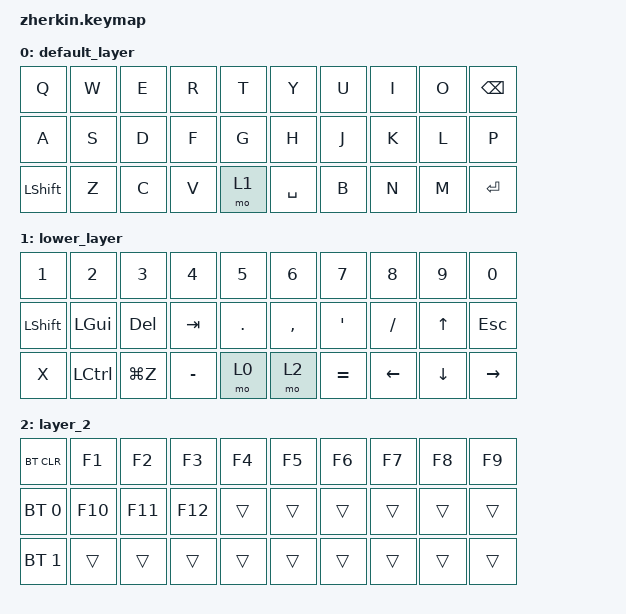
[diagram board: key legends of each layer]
S#include <behaviors.dtsi>
#include <dt-bindings/zmk/bt.h>
#include <dt-bindings/zmk/keys.h>

#define DEFAULT 0
#define LOWER 1

/ {
    keymap {
        compatible = "zmk,keymap";

        default_layer {
            // --------------------------------------------------------------------------------------------------------------------------------------------------------------------
            // |   ESC   |    Q    |    W    |    E    |    R    |    T    |                                          |    Y    |    U    |    I    |    O    |    P    |    \    |
            // |   TAB   |    A    |    S    |    D    |    F    |    G    |                                          |    H    |    J    |    K    |    L    |    ;    |    '    |
            // |  SHIFT  |    Z    |    X    |    C    |    V    |    B    | CTRL+A  | CTRL+C  |  |  CTRL+V |  CTRL+X |    N    |    M    |    ,    |    .    |    /    |  R CTRL |
            //                               |   GUI   |   DEL   | RETURN  |  SPACE  | ESCAPE  |  |  RETURN |  SPACE  |   TAB   |   BSPC  |  R ALT  |

            bindings = <
&kp Q      &kp W  &kp E  &kp R  &kp T  &kp Y      &kp U  &kp I  &kp O  &kp BSPC
&kp A      &kp S  &kp D  &kp F  &kp G  &kp H      &kp J  &kp K  &kp L  &kp P
&kp LSHFT  &kp Z  &kp C  &kp V  &mo 1  &kp SPACE  &kp B  &kp N  &kp M  &kp RET
            >;
        };

        lower_layer {
            // --------------------------------------------------------------------------------------------------------------------------------------------------------------------
            // |   ESC   |    Q    |    W    |    E    |    R    |    T    |                                          |    Y    |    U    |    I    |    O    |    P    |    \    |
            // |   TAB   |    A    |    S    |    D    |    F    |    G    |                                          |    H    |    J    |    K    |    L    |    ;    |    '    |
            // |  SHIFT  |    Z    |    X    |    C    |    V    |    B    | CTRL+A  | CTRL+C  |  |  CTRL+V |  CTRL+X |    N    |    M    |    ,    |    .    |    /    |  R CTRL |
            //                               |   GUI   |   DEL   | RETURN  |  SPACE  | ESCAPE  |  |  RETURN |  SPACE  |   TAB   |   BSPC  |  R ALT  |

            bindings = <
&kp N1        &kp N2        &kp N3        &kp N4        &kp N5     &kp N6     &kp N7    &kp N8     &kp N9   &kp N0
&kp LSHIFT    &kp LGUI      &kp DEL       &kp TAB       &kp DOT    &kp COMMA  &kp APOS  &kp SLASH  &kp UP   &kp ESC
&kp X         &kp LCTRL     &kp LG(Z)     &kp MINUS     &mo 0      &mo 2      &kp EQUAL   &kp LEFT   &kp DOWN &kp RIGHT
            >;
        };

        layer_2 {
            bindings = <
&bt BT_CLR    &kp F1  &kp F2  &kp F3  &kp F4  &kp F5  &kp F6  &kp F7  &kp F8  &kp F9
&bt BT_SEL 0  &kp F10 &kp F11 &kp F12 &trans  &trans  &trans  &trans  &trans  &trans
&bt BT_SEL 1  &trans  &trans  &trans  &trans  &trans  &trans  &trans  &trans  &trans
            >;
        };
    };
};
